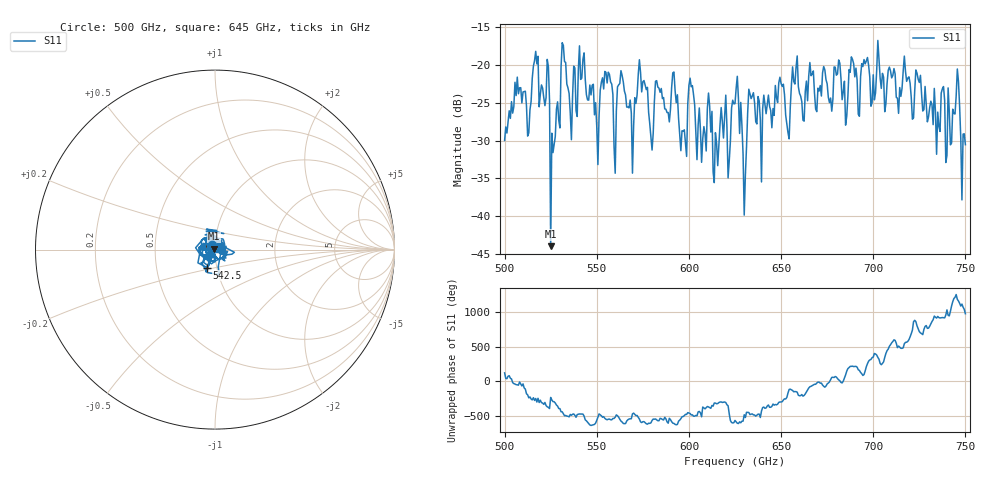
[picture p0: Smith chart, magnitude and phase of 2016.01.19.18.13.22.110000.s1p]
!Created with skrf (http://scikit-rf.org).
# GHz S RI R 50.0
!freq ReS11 ImS11
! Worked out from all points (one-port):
!   401 points, 500 GHz to 750 GHz, reference 50 ohm
!   lowest |S11| = -44.0 dB at 525 GHz (marker M1), VSWR 1.01, Z = 49.6 + j0.496 ohm
!   |S11| at or under -10 dB: start of sweep to end of sweep
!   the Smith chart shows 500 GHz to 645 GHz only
!   S11 on the Smith chart (normalised r, x): 500 GHz: 0.96, +0.05; 542.5 GHz: 0.90, -0.18; 645 GHz: 1.08, -0.00
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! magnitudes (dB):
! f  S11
! 500 GHz  -30.0
! 506.9 GHz  -21.6
! 513.1 GHz  -29.0
! 516.9 GHz  -18.2
! 525 GHz  -44.0
! 526.2 GHz  -31.6
! 531.2 GHz  -17.0
! 535.6 GHz  -26.4
! 542.5 GHz  -19.2
! 550 GHz  -28.1
! 562.5 GHz  -22.4
! 568.8 GHz  -26.4
! 573.8 GHz  -21.0
! 579.4 GHz  -29.5
! 583.1 GHz  -22.9
! 593.8 GHz  -23.9
! 611.2 GHz  -25.4
! 614.4 GHz  -28.9
! 625 GHz  -25.1
! 630 GHz  -39.9
! 633.8 GHz  -24.4
! 645 GHz  -28.3
! 656.2 GHz  -20.2
! 687.5 GHz  -21.0
! 718.8 GHz  -21.7
! 740.6 GHz  -23.0
! 745.6 GHz  -20.5
! 750 GHz  -30.5
